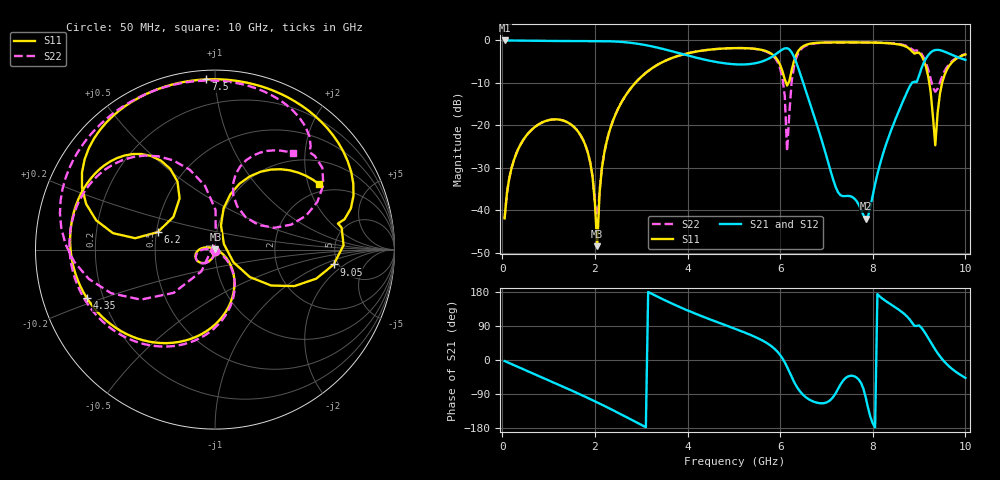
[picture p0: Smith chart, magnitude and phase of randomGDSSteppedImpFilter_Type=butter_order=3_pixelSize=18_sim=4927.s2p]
! freq	dB(S11)	phase(S11)	dB(S12)	phase(S12)
!  dB(S21)	phase(S21)	dB(S22)	phase(S22)
!S-par simulation data
#  GHz  S  DB  R 50
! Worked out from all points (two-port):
!   200 points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, 50 MHz to 10 GHz, reference 50 ohm
!   highest |S21| = 0.00 dB at 50 MHz (marker M1); lowest = -42.0 dB at 7.85 GHz (marker M2)
!   |S21| within 3 dB of the highest: start of sweep to 3.82 GHz; 9.235 GHz to 9.628 GHz (393.2 MHz wide, 4.17 % of centre) (the widest 2 of 3)
!   lowest |S11| = -48.4 dB at 2.05 GHz (marker M3), VSWR 1.01, Z = 50.3 + j0.269 ohm
!   |S11| at or under -10 dB: start of sweep to 2.873 GHz; 6.128 GHz to 6.178 GHz (49.55 MHz wide, 0.805 % of centre); 9.22 GHz to 9.498 GHz (278.3 MHz wide, 2.97 % of centre)
!   |S22| runs from -44.3 to -0.5 dB; largest |S21 - S12| = 0
!   S11 on the Smith chart (normalised r, x): 50 MHz: 1.00, -0.02; 4.35 GHz: 0.14, -0.18; 6.2 GHz: 0.51, +0.11; 7.5 GHz: 0.05, +0.95; 9.05 GHz: 4.57, -1.36; 10 GHz: 1.71, +2.35
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0.05  -41.89 -91.9  -0.00 -2.7  -0.00 -2.7  -41.89 -91.8
0.6  -21.40 -123.5  -0.07 -32.3  -0.07 -32.3  -21.40 -122.1
1.75  -23.54 171.3  -0.13 -94.6  -0.13 -94.6  -23.55 179.3
2.05  -48.45 45.0  -0.14 -111.9  -0.14 -111.9  -44.33 -95.8
2.15  -30.19 -24.1  -0.15 -117.9  -0.15 -117.9  -30.01 -38.3
2.35  -20.12 -40.3  -0.21 -130.0  -0.21 -130.0  -20.08 -43.3
3.4  -5.44 -108.3  -1.82 164.2  -1.82 164.2  -5.43 -105.0
4.35  -2.34 -159.4  -4.48 113.5  -4.48 113.5  -2.34 -154.1
5.05  -1.79 168.7  -5.64 81.2  -5.64 81.2  -1.80 174.8
5.9  -3.98 124.4  -3.28 27.1  -3.28 27.1  -4.31 121.4
6.1  -9.19 124.6  -1.86 -6.3  -1.86 -6.3  -13.14 89.1
6.15  -10.62 141.9  -1.83 -18.3  -1.83 -18.3  -26.07 85.2
6.2  -9.51 163.1  -2.12 -31.5  -2.12 -31.5  -16.89 -122.1
6.35  -3.32 166.1  -5.25 -68.7  -5.25 -68.7  -4.04 -157.2
6.7  -0.68 133.9  -16.68 -108.8  -16.68 -108.8  -0.78 158.2
7.5  -0.45 92.9  -36.64 -41.9  -36.64 -41.9  -0.46 116.5
7.85  -0.48 76.6  -42.01 -99.9  -42.01 -99.9  -0.48 101.6
8.35  -0.67 50.4  -22.52 149.9  -22.52 149.9  -0.62 78.3
9.05  -3.52 -7.1  -6.61 85.4  -6.61 85.4  -3.07 30.7
9.35  -24.68 31.9  -2.25 27.4  -2.25 27.4  -12.09 46.4
9.55  -8.13 69.6  -2.64 -4.9  -2.64 -4.9  -7.24 74.7
10  -3.29 32.3  -4.57 -47.1  -4.57 -47.1  -3.21 51.0
